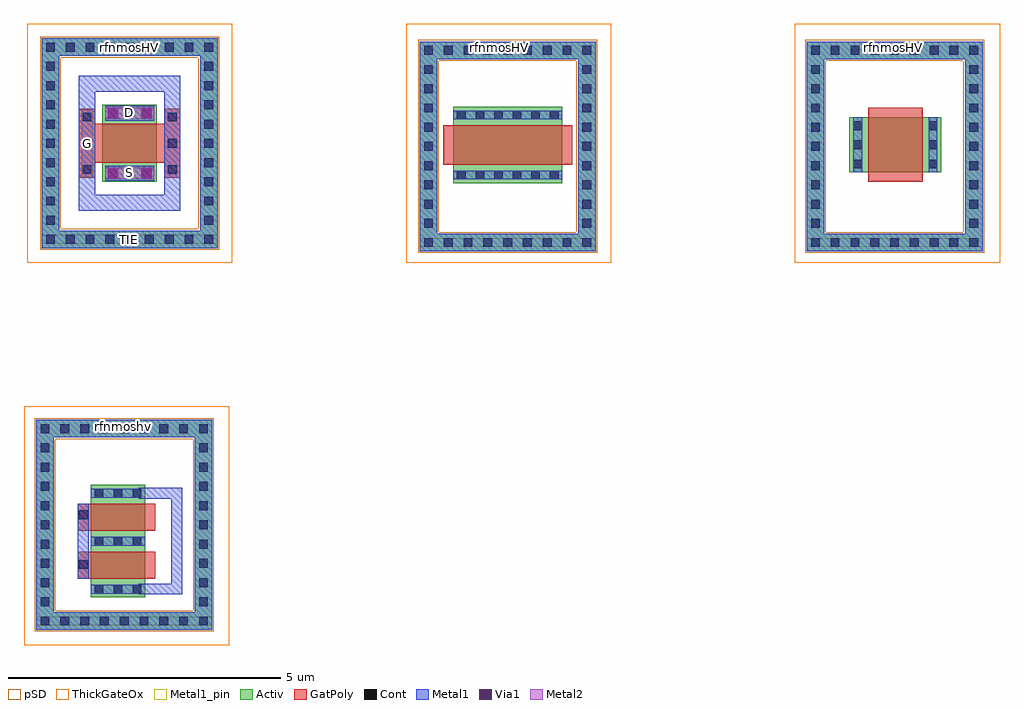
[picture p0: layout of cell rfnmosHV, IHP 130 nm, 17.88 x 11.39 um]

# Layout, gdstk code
import gdstk
lib = gdstk.Library(unit=1e-6, precision=1e-09)
def R(c, l, rs):  # rectangles x0, y0, x1, y1
    for r in rs: c.add(gdstk.rectangle(r[:2], r[2:], *l))
def A(c, l, x, y, w, h, nx, ny, dx, dy):  # array of equal rectangles
    R(c, l, [(x+i*dx, y+j*dy, x+i*dx+w, y+j*dy+h) for i in range(nx) for j in range(ny)])
def P(c, l, *ps):  # polygons
    for p in ps: c.add(gdstk.Polygon(p, *l))
Activ = (1, 0)
GatPoly = (5, 0)
Cont = (6, 0)
Metal1 = (8, 0)
Metal1_pin = (8, 2)
Metal2 = (10, 0)
pSD = (14, 0)
Via1 = (19, 0)
ThickGateOx = (44, 0)

rfnmoshv = lib.new_cell('rfnmosHV')
A(rfnmoshv, Activ, 1.866, -13.443, 0.3, 0.3, 1, 3, 0, 0.88)
R(rfnmoshv, Activ, [(1.166,-13.443,2.166,-11.383), (7.805,-5.855,9.805,-4.455), (9.505,-5.855,9.805,-5.555), (1.38,-5.829,2.38,-4.419), (15.064,-5.652,15.364,-5.352), (15.064,-5.652,16.744,-4.652), (16.444,-5.652,16.744,-5.352), (9.505,-4.755,9.805,-4.455)])
P(rfnmoshv, Activ, [(7.193,-7.101),(7.193,-3.261),(10.093,-3.261),(10.093,-3.581),(7.513,-3.581),(7.513,-6.781),(10.093,-6.781),(10.093,-3.261),(10.413,-3.261),(10.413,-7.101)],
  [(14.281,-7.101),(14.281,-3.261),(17.181,-3.261),(17.181,-3.581),(14.601,-3.581),(14.601,-6.781),(17.181,-6.781),(17.181,-3.261),(17.501,-3.261),(17.501,-7.101)],
  [(0.17,-14.033),(0.17,-10.193),(3.07,-10.193),(3.07,-10.513),(0.49,-10.513),(0.49,-13.713),(3.07,-13.713),(3.07,-10.193),(3.39,-10.193),(3.39,-14.033)],
  [(0.27,-7.044),(0.27,-3.204),(3.17,-3.204),(3.17,-3.524),(0.59,-3.524),(0.59,-6.724),(3.17,-6.724),(3.17,-3.204),(3.49,-3.204),(3.49,-7.044)])
R(rfnmoshv, GatPoly, [(0.929,-13.103,2.346,-12.603), (0.929,-12.223,2.346,-11.723), (15.404,-5.832,16.404,-4.472), (7.625,-5.515,9.985,-4.795)])
P(rfnmoshv, GatPoly, [(0.95,-5.754),(0.95,-4.494),(1.25,-4.494),(1.25,-4.764),(2.51,-4.764),(2.51,-4.494),(2.81,-4.494),(2.81,-5.754),(2.51,-5.754),(2.51,-5.484),(1.25,-5.484),(1.25,-5.754)])
A(rfnmoshv, Cont, 0.25, -13.953, 0.16, 0.16, 1, 3, 0, 0.35)
A(rfnmoshv, Cont, 3.15, -13.953, 0.16, 0.16, 1, 3, 0, 0.35)
A(rfnmoshv, Cont, 1.236, -13.373, 0.16, 0.16, 3, 3, 0.35, 0.88)
A(rfnmoshv, Cont, 7.273, -7.021, 0.16, 0.16, 1, 3, 0, 0.35)
A(rfnmoshv, Cont, 10.173, -7.021, 0.16, 0.16, 1, 3, 0, 0.35)
A(rfnmoshv, Cont, 14.361, -7.021, 0.16, 0.16, 1, 3, 0, 0.35)
A(rfnmoshv, Cont, 17.261, -7.021, 0.16, 0.16, 1, 3, 0, 0.35)
A(rfnmoshv, Cont, 0.35, -6.964, 0.16, 0.16, 1, 3, 0, 0.35)
A(rfnmoshv, Cont, 3.25, -6.964, 0.16, 0.16, 1, 3, 0, 0.35)
A(rfnmoshv, Cont, 7.875, -5.785, 0.16, 0.16, 6, 2, 0.34, 1.1)
A(rfnmoshv, Cont, 1.02, -5.684, 0.16, 0.16, 1, 3, 0, 0.48)
A(rfnmoshv, Cont, 2.58, -5.684, 0.16, 0.16, 1, 3, 0, 0.48)
A(rfnmoshv, Cont, 15.134, -5.582, 0.16, 0.16, 1, 3, 0, 0.35)
A(rfnmoshv, Cont, 16.514, -5.582, 0.16, 0.16, 1, 3, 0, 0.35)
R(rfnmoshv, Cont, [(0.61,-13.953,0.77,-13.793), (0.975,-13.953,1.135,-13.793), (1.335,-13.953,1.495,-13.793), (1.7,-13.953,1.86,-13.793), (2.06,-13.953,2.22,-13.793), (2.425,-13.953,2.585,-13.793), (2.785,-13.953,2.945,-13.793), (0.949,-12.922,1.109,-12.762), (0.25,-12.898,0.41,-12.738), (3.15,-12.898,3.31,-12.738), (0.25,-12.548,0.41,-12.388), (3.15,-12.548,3.31,-12.388), (0.25,-12.193,0.41,-12.033), (3.15,-12.193,3.31,-12.033), (0.949,-12.009,1.109,-11.849), (0.25,-11.843,0.41,-11.683), (3.15,-11.843,3.31,-11.683), (0.25,-11.488,0.41,-11.328), (3.15,-11.488,3.31,-11.328), (0.25,-11.138,0.41,-10.978), (3.15,-11.138,3.31,-10.978), (0.25,-10.783,0.41,-10.623), (3.15,-10.783,3.31,-10.623), (0.25,-10.433,0.41,-10.273), (0.61,-10.433,0.77,-10.273), (0.975,-10.433,1.135,-10.273), (1.335,-10.433,1.495,-10.273), (1.7,-10.433,1.86,-10.273), (2.06,-10.433,2.22,-10.273), (2.425,-10.433,2.585,-10.273), (2.785,-10.433,2.945,-10.273), (3.15,-10.433,3.31,-10.273), (7.633,-7.021,7.793,-6.861), (7.998,-7.021,8.158,-6.861), (8.358,-7.021,8.518,-6.861), (8.723,-7.021,8.883,-6.861), (9.083,-7.021,9.243,-6.861), (9.448,-7.021,9.608,-6.861), (9.808,-7.021,9.968,-6.861), (14.721,-7.021,14.881,-6.861), (15.086,-7.021,15.246,-6.861), (15.446,-7.021,15.606,-6.861), (15.811,-7.021,15.971,-6.861), (16.171,-7.021,16.331,-6.861), (16.536,-7.021,16.696,-6.861), (16.896,-7.021,17.056,-6.861), (0.71,-6.964,0.87,-6.804), (1.075,-6.964,1.235,-6.804), (1.435,-6.964,1.595,-6.804), (1.8,-6.964,1.96,-6.804), (2.16,-6.964,2.32,-6.804), (2.525,-6.964,2.685,-6.804), (2.885,-6.964,3.045,-6.804), (7.273,-5.966,7.433,-5.806), (10.173,-5.966,10.333,-5.806), (14.361,-5.966,14.521,-5.806), (17.261,-5.966,17.421,-5.806), (0.35,-5.909,0.51,-5.749), (3.25,-5.909,3.41,-5.749), (1.48,-5.754,1.64,-5.594), (2.12,-5.754,2.28,-5.594), (7.273,-5.616,7.433,-5.456), (10.173,-5.616,10.333,-5.456), (14.361,-5.616,14.521,-5.456), (17.261,-5.616,17.421,-5.456), (0.35,-5.559,0.51,-5.399), (3.25,-5.559,3.41,-5.399), (7.273,-5.261,7.433,-5.101), (10.173,-5.261,10.333,-5.101), (14.361,-5.261,14.521,-5.101), (17.261,-5.261,17.421,-5.101), (0.35,-5.204,0.51,-5.044), (3.25,-5.204,3.41,-5.044), (7.273,-4.911,7.433,-4.751), (10.173,-4.911,10.333,-4.751), (14.361,-4.911,14.521,-4.751), (17.261,-4.911,17.421,-4.751), (0.35,-4.854,0.51,-4.694), (3.25,-4.854,3.41,-4.694), (1.48,-4.654,1.64,-4.494), (2.12,-4.654,2.28,-4.494), (7.273,-4.556,7.433,-4.396), (10.173,-4.556,10.333,-4.396), (14.361,-4.556,14.521,-4.396), (17.261,-4.556,17.421,-4.396), (0.35,-4.499,0.51,-4.339), (3.25,-4.499,3.41,-4.339), (7.273,-4.206,7.433,-4.046), (10.173,-4.206,10.333,-4.046), (14.361,-4.206,14.521,-4.046), (17.261,-4.206,17.421,-4.046), (0.35,-4.149,0.51,-3.989), (3.25,-4.149,3.41,-3.989), (7.273,-3.851,7.433,-3.691), (10.173,-3.851,10.333,-3.691), (14.361,-3.851,14.521,-3.691), (17.261,-3.851,17.421,-3.691), (0.35,-3.794,0.51,-3.634), (3.25,-3.794,3.41,-3.634), (7.273,-3.501,7.433,-3.341), (7.633,-3.501,7.793,-3.341), (7.998,-3.501,8.158,-3.341), (8.358,-3.501,8.518,-3.341), (8.723,-3.501,8.883,-3.341), (9.083,-3.501,9.243,-3.341), (9.448,-3.501,9.608,-3.341), (9.808,-3.501,9.968,-3.341), (10.173,-3.501,10.333,-3.341), (14.361,-3.501,14.521,-3.341), (14.721,-3.501,14.881,-3.341), (15.086,-3.501,15.246,-3.341), (15.446,-3.501,15.606,-3.341), (15.811,-3.501,15.971,-3.341), (16.171,-3.501,16.331,-3.341), (16.536,-3.501,16.696,-3.341), (16.896,-3.501,17.056,-3.341), (17.261,-3.501,17.421,-3.341), (0.35,-3.444,0.51,-3.284), (0.71,-3.444,0.87,-3.284), (1.075,-3.444,1.235,-3.284), (1.435,-3.444,1.595,-3.284), (1.8,-3.444,1.96,-3.284), (2.16,-3.444,2.32,-3.284), (2.525,-3.444,2.685,-3.284), (2.885,-3.444,3.045,-3.284), (3.25,-3.444,3.41,-3.284)])
A(rfnmoshv, Metal1, 1.166, -13.373, 1, 0.16, 1, 3, 0, 0.88)
R(rfnmoshv, Metal1, [(0.929,-13.103,1.129,-11.726), (1.43,-5.814,2.33,-5.534), (7.805,-5.785,9.805,-5.625), (1,-5.734,1.2,-4.514), (2.56,-5.734,2.76,-4.514), (15.134,-5.652,15.294,-4.652), (16.514,-5.652,16.674,-4.652), (1.43,-4.714,2.33,-4.434), (7.805,-4.685,9.805,-4.525)])
P(rfnmoshv, Metal1, [(7.193,-7.101),(7.193,-3.261),(10.093,-3.261),(10.093,-3.581),(7.513,-3.581),(7.513,-6.781),(10.093,-6.781),(10.093,-3.261),(10.413,-3.261),(10.413,-7.101)],
  [(14.281,-7.101),(14.281,-3.261),(17.181,-3.261),(17.181,-3.581),(14.601,-3.581),(14.601,-6.781),(17.181,-6.781),(17.181,-3.261),(17.501,-3.261),(17.501,-7.101)],
  [(0.17,-14.033),(0.17,-10.193),(3.07,-10.193),(3.07,-10.513),(0.49,-10.513),(0.49,-13.713),(3.07,-13.713),(3.07,-10.193),(3.39,-10.193),(3.39,-14.033)],
  [(0.27,-7.044),(0.27,-3.204),(3.17,-3.204),(3.17,-3.524),(0.59,-3.524),(0.59,-6.724),(3.17,-6.724),(3.17,-3.204),(3.49,-3.204),(3.49,-7.044)],
  [(0.95,-6.364),(0.95,-3.884),(2.51,-3.884),(2.51,-4.184),(1.25,-4.184),(1.25,-6.064),(2.51,-6.064),(2.51,-3.884),(2.81,-3.884),(2.81,-6.364)])
R(rfnmoshv, Metal1_pin, [(0.17,-13.953,3.39,-13.793), (1.166,-13.373,2.166,-13.213), (1.166,-13.373,2.166,-13.213), (1.166,-12.493,2.166,-12.333), (1.166,-12.493,2.166,-12.333), (7.193,-7.021,10.413,-6.861), (14.281,-7.021,17.501,-6.861), (0.27,-6.964,3.49,-6.804), (1.43,-5.814,2.33,-5.534), (7.805,-5.785,9.805,-5.625), (7.805,-5.785,9.805,-5.625), (1,-5.734,1.2,-4.514), (15.134,-5.652,15.294,-4.652), (15.134,-5.652,15.294,-4.652), (16.514,-5.652,16.674,-4.652), (16.514,-5.652,16.674,-4.652), (1.43,-4.714,2.33,-4.434), (7.805,-4.685,9.805,-4.525), (7.805,-4.685,9.805,-4.525)])
R(rfnmoshv, Metal2, [(1.43,-5.774,2.33,-5.574), (1.43,-4.674,2.33,-4.474)])
P(rfnmoshv, pSD, [(7.163,-7.131),(7.163,-3.231),(10.063,-3.231),(10.063,-3.611),(7.543,-3.611),(7.543,-6.751),(10.063,-6.751),(10.063,-3.231),(10.443,-3.231),(10.443,-7.131)],
  [(14.251,-7.131),(14.251,-3.231),(17.151,-3.231),(17.151,-3.611),(14.631,-3.611),(14.631,-6.751),(17.151,-6.751),(17.151,-3.231),(17.531,-3.231),(17.531,-7.131)],
  [(0.14,-14.063),(0.14,-10.163),(3.04,-10.163),(3.04,-10.543),(0.52,-10.543),(0.52,-13.683),(3.04,-13.683),(3.04,-10.163),(3.42,-10.163),(3.42,-14.063)],
  [(0.24,-7.074),(0.24,-3.174),(3.14,-3.174),(3.14,-3.554),(0.62,-3.554),(0.62,-6.694),(3.14,-6.694),(3.14,-3.174),(3.52,-3.174),(3.52,-7.074)])
R(rfnmoshv, Via1, [(1.48,-5.769,1.67,-5.579), (2.09,-5.769,2.28,-5.579), (1.48,-4.669,1.67,-4.479), (2.09,-4.669,2.28,-4.479)])
R(rfnmoshv, ThickGateOx, [(-0.056,-14.32,3.704,-9.94), (0,-7.314,3.76,-2.934), (6.941,-7.314,10.701,-2.934), (14.061,-7.314,17.821,-2.934)])
rfnmoshv.add(gdstk.FlexPath([(2.05,-11.536),(2.743,-11.536),(2.743,-13.288),(2.05,-13.288)], 0.2, ends="flush", simple_path=True, layer=8, datatype=0))  # Metal1
rfnmoshv.add(gdstk.Label('rfnmoshv', (1.77,-10.31), layer=63, texttype=0))
rfnmoshv.add(gdstk.Label('rfnmosHV', (8.655,-3.364), layer=63, texttype=0))
rfnmoshv.add(gdstk.Label('rfnmosHV', (15.876,-3.364), layer=63, texttype=0))
rfnmoshv.add(gdstk.Label('TIE', (1.88,-6.884), layer=63, texttype=0))
rfnmoshv.add(gdstk.Label('rfnmosHV', (1.88,-3.364), layer=63, texttype=0))
rfnmoshv.add(gdstk.Label('G', (1.1,-5.124), layer=63, texttype=0))
rfnmoshv.add(gdstk.Label('D', (1.88,-4.556), layer=63, texttype=0))
rfnmoshv.add(gdstk.Label('S', (1.88,-5.656), layer=63, texttype=0))

lib.write_gds('rfnmosHV.gds')
